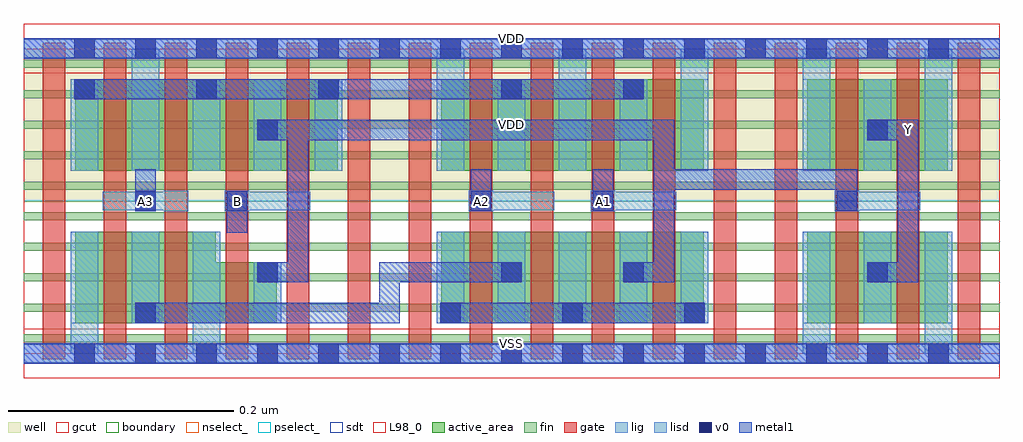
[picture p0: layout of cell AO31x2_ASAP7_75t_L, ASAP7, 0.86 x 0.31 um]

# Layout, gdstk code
import gdstk
lib = gdstk.Library(unit=1e-6, precision=2.5e-10)
def R(c, l, rs):  # rectangles x0, y0, x1, y1
    for r in rs: c.add(gdstk.rectangle(r[:2], r[2:], *l))
def A(c, l, x, y, w, h, nx, ny, dx, dy):  # array of equal rectangles
    R(c, l, [(x+i*dx, y+j*dy, x+i*dx+w, y+j*dy+h) for i in range(nx) for j in range(ny)])
def P(c, l, *ps):  # polygons
    for p in ps: c.add(gdstk.Polygon(p, *l))
well = (1, 0)
fin = (2, 0)
gate = (7, 0)
gcut = (10, 0)
active_area = (11, 0)
nselect_ = (12, 0)
pselect_ = (13, 0)
lig = (16, 0)
lisd = (17, 0)
v0 = (18, 0)
metal1 = (19, 0)
sdt = (88, 0)
L98_0 = (98, 0)
boundary = (100, 0)

ao31x2_asap7_75t_l = lib.new_cell('AO31x2_ASAP7_75t_L')
R(ao31x2_asap7_75t_l, well, [(0,0.135,0.864,0.27)])
A(ao31x2_asap7_75t_l, fin, 0, 0.01, 0.864, 0.007, 1, 10, 0, 0.027)
A(ao31x2_asap7_75t_l, gate, 0.017, -0.005, 0.02, 0.28, 16, 1, 0.054, 0)
R(ao31x2_asap7_75t_l, gcut, [(0,-0.022,0.864,0.022), (0,0.248,0.864,0.292)])
R(ao31x2_asap7_75t_l, active_area, [(0.37,0.027,0.602,0.108), (0.694,0.027,0.818,0.108), (0.046,0.162,0.278,0.243), (0.37,0.162,0.602,0.243), (0.694,0.162,0.818,0.243)])
P(ao31x2_asap7_75t_l, active_area, [(0.224,0.081),(0.17,0.081),(0.17,0.108),(0.046,0.108),(0.046,0.027),(0.224,0.027)])
R(ao31x2_asap7_75t_l, nselect_, [(0,0,0.864,0.135)])
R(ao31x2_asap7_75t_l, pselect_, [(0,0.135,0.864,0.27)])
R(ao31x2_asap7_75t_l, lig, [(0,-0.008,0.864,0.008), (0.124,0.126,0.146,0.144), (0.178,0.126,0.2,0.144), (0.394,0.126,0.416,0.144), (0.502,0.126,0.524,0.144), (0.718,0.126,0.74,0.144), (0.07,0.127,0.146,0.143), (0.178,0.127,0.254,0.143), (0.394,0.127,0.47,0.143), (0.502,0.127,0.578,0.143), (0.718,0.127,0.794,0.143), (0,0.262,0.864,0.278)])
A(ao31x2_asap7_75t_l, lisd, 0.366, 0.027, 0.024, 0.081, 5, 1, 0.054, 0)
A(ao31x2_asap7_75t_l, lisd, 0.15, 0.162, 0.024, 0.081, 3, 1, 0.054, 0)
R(ao31x2_asap7_75t_l, lisd, [(0.042,0,0.066,0.108), (0.042,0,0.066,0.108), (0.15,0,0.174,0.108), (0.15,0,0.174,0.108), (0.69,0,0.714,0.108), (0.69,0,0.714,0.108), (0.798,0,0.822,0.108), (0.798,0,0.822,0.108), (0.096,0.027,0.12,0.108), (0.204,0.027,0.228,0.081), (0.744,0.027,0.768,0.108), (0.042,0.162,0.066,0.243), (0.096,0.162,0.12,0.27), (0.096,0.162,0.12,0.27), (0.366,0.162,0.39,0.27), (0.366,0.162,0.39,0.27), (0.42,0.162,0.444,0.243), (0.474,0.162,0.498,0.27), (0.474,0.162,0.498,0.27), (0.528,0.162,0.552,0.243), (0.582,0.162,0.606,0.27), (0.582,0.162,0.606,0.27), (0.69,0.162,0.714,0.27), (0.69,0.162,0.714,0.27), (0.744,0.162,0.768,0.243), (0.798,0.162,0.822,0.27), (0.798,0.162,0.822,0.27)])
A(ao31x2_asap7_75t_l, v0, 0.045, -0.009, 0.018, 0.018, 15, 2, 0.054, 0.27)
A(ao31x2_asap7_75t_l, v0, 0.369, 0.027, 0.018, 0.018, 3, 1, 0.108, 0)
A(ao31x2_asap7_75t_l, v0, 0.045, 0.225, 0.018, 0.018, 3, 1, 0.108, 0)
R(ao31x2_asap7_75t_l, v0, [(0.099,0.027,0.117,0.045), (0.207,0.063,0.225,0.081), (0.423,0.063,0.441,0.081), (0.531,0.063,0.549,0.081), (0.747,0.063,0.765,0.081), (0.099,0.126,0.117,0.144), (0.18,0.126,0.198,0.144), (0.396,0.126,0.414,0.144), (0.504,0.126,0.522,0.144), (0.72,0.126,0.738,0.144), (0.207,0.189,0.225,0.207), (0.747,0.189,0.765,0.207), (0.423,0.225,0.441,0.243), (0.531,0.225,0.549,0.243)])
A(ao31x2_asap7_75t_l, metal1, 0.369, 0.027, 0.018, 0.018, 3, 1, 0.108, 0)
A(ao31x2_asap7_75t_l, metal1, 0.045, 0.225, 0.018, 0.018, 3, 1, 0.108, 0)
R(ao31x2_asap7_75t_l, metal1, [(0,-0.009,0.864,0.009), (0.099,0.027,0.117,0.045), (0.369,0.027,0.603,0.045), (0.207,0.063,0.225,0.081), (0.423,0.063,0.441,0.081), (0.531,0.063,0.549,0.081), (0.747,0.063,0.765,0.081), (0.18,0.107,0.198,0.144), (0.099,0.126,0.117,0.144), (0.099,0.126,0.117,0.163), (0.18,0.126,0.198,0.144), (0.396,0.126,0.414,0.144), (0.396,0.126,0.414,0.163), (0.504,0.126,0.522,0.144), (0.504,0.126,0.522,0.163), (0.72,0.126,0.738,0.144), (0.207,0.189,0.225,0.207), (0.747,0.189,0.765,0.207), (0.045,0.225,0.549,0.243), (0.423,0.225,0.441,0.243), (0.531,0.225,0.549,0.243), (0,0.261,0.864,0.279)])
P(ao31x2_asap7_75t_l, metal1, [(0.441,0.081),(0.315,0.081),(0.315,0.045),(0.099,0.045),(0.099,0.027),(0.333,0.027),(0.333,0.063),(0.441,0.063)],
  [(0.72,0.126),(0.738,0.126),(0.738,0.163),(0.576,0.163),(0.576,0.207),(0.207,0.207),(0.207,0.189),(0.234,0.189),(0.234,0.081),(0.207,0.081),(0.207,0.063),(0.252,0.063),(0.252,0.189),(0.558,0.189),(0.558,0.081),(0.531,0.081),(0.531,0.063),(0.576,0.063),(0.576,0.145),(0.72,0.145)],
  [(0.747,0.207),(0.747,0.189),(0.774,0.189),(0.774,0.081),(0.747,0.081),(0.747,0.063),(0.792,0.063),(0.792,0.207)])
A(ao31x2_asap7_75t_l, sdt, 0.042, 0.027, 0.024, 0.081, 3, 1, 0.054, 0)
A(ao31x2_asap7_75t_l, sdt, 0.366, 0.027, 0.024, 0.081, 5, 1, 0.054, 0)
A(ao31x2_asap7_75t_l, sdt, 0.69, 0.027, 0.024, 0.081, 3, 2, 0.054, 0.135)
A(ao31x2_asap7_75t_l, sdt, 0.096, 0.162, 0.024, 0.081, 4, 1, 0.054, 0)
A(ao31x2_asap7_75t_l, sdt, 0.366, 0.162, 0.024, 0.081, 3, 1, 0.054, 0)
A(ao31x2_asap7_75t_l, sdt, 0.474, 0.162, 0.024, 0.081, 3, 1, 0.054, 0)
R(ao31x2_asap7_75t_l, sdt, [(0.042,0.027,0.066,0.108), (0.15,0.027,0.174,0.108), (0.204,0.027,0.228,0.081), (0.69,0.027,0.714,0.108), (0.798,0.027,0.822,0.108), (0.042,0.162,0.066,0.243), (0.096,0.162,0.12,0.243), (0.366,0.162,0.39,0.243), (0.582,0.162,0.606,0.243), (0.69,0.162,0.714,0.243), (0.798,0.162,0.822,0.243)])
R(ao31x2_asap7_75t_l, L98_0, [(0,0,0.864,0.27)])
R(ao31x2_asap7_75t_l, boundary, [(0,0,0.864,0.27)])
ao31x2_asap7_75t_l.add(gdstk.Label('VDD', (0.432,0.2025), layer=1, texttype=251))
ao31x2_asap7_75t_l.add(gdstk.Label('VSS', (0.432,-0.0675), layer=3, texttype=251))
ao31x2_asap7_75t_l.add(gdstk.Label('VSS', (0.432,0.009), layer=19, texttype=251))
ao31x2_asap7_75t_l.add(gdstk.Label('VDD', (0.432,0.279), layer=19, texttype=251))
ao31x2_asap7_75t_l.add(gdstk.Label('A3', (0.108,0.135), layer=19, texttype=251))
ao31x2_asap7_75t_l.add(gdstk.Label('B', (0.189,0.135), layer=19, texttype=251))
ao31x2_asap7_75t_l.add(gdstk.Label('A2', (0.405,0.135), layer=19, texttype=251))
ao31x2_asap7_75t_l.add(gdstk.Label('A1', (0.513,0.135), layer=19, texttype=251))
ao31x2_asap7_75t_l.add(gdstk.Label('Y', (0.783,0.198), layer=19, texttype=251))

lib.write_gds('AO31x2_ASAP7_75t_L.gds')
